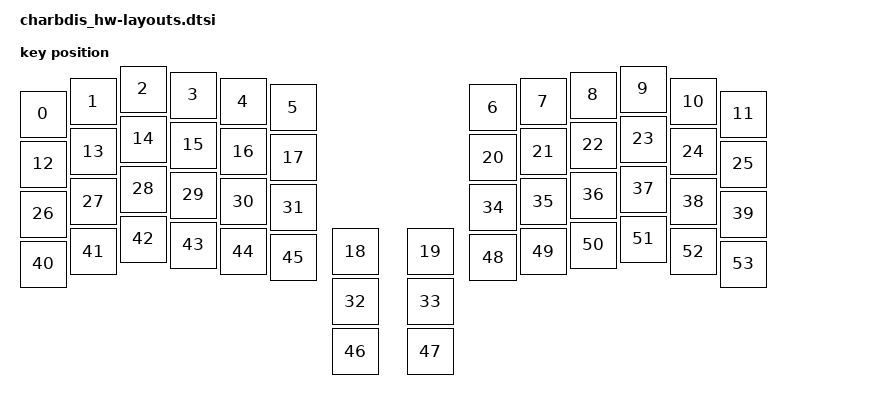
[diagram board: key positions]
// Physical layout for ZMK Studio visualization
// Charybdis Handwired - Unibody - 54 keys

#include <physical_layouts.dtsi>

/ {
    default_layout: default_layout {
        compatible = "zmk,physical-layout";
        display-name = "Default Layout";
        transform = <&default_transform>;
        kscan = <&kscan>;

        //                                                     w   h    x    y     rot    rx    ry
        // Row 1: left (cols 1-6), right (cols 9-14) — 12 keys
        keys
            = <&key_physical_attrs 100 100    0   50       0     0     0>
            , <&key_physical_attrs 100 100  100   25       0     0     0>
            , <&key_physical_attrs 100 100  200    0       0     0     0>
            , <&key_physical_attrs 100 100  300   12       0     0     0>
            , <&key_physical_attrs 100 100  400   25       0     0     0>
            , <&key_physical_attrs 100 100  500   37       0     0     0>
            , <&key_physical_attrs 100 100  900   37       0     0     0>
            , <&key_physical_attrs 100 100 1000   25       0     0     0>
            , <&key_physical_attrs 100 100 1100   12       0     0     0>
            , <&key_physical_attrs 100 100 1200    0       0     0     0>
            , <&key_physical_attrs 100 100 1300   25       0     0     0>
            , <&key_physical_attrs 100 100 1400   50       0     0     0>

        // Row 2: left (cols 1-6), thumbs (cols 7-8), right (cols 9-14) — 14 keys
            , <&key_physical_attrs 100 100    0  150       0     0     0>
            , <&key_physical_attrs 100 100  100  125       0     0     0>
            , <&key_physical_attrs 100 100  200  100       0     0     0>
            , <&key_physical_attrs 100 100  300  112       0     0     0>
            , <&key_physical_attrs 100 100  400  125       0     0     0>
            , <&key_physical_attrs 100 100  500  137       0     0     0>
            , <&key_physical_attrs 100 100  625  325       0     0     0>
            , <&key_physical_attrs 100 100  775  325       0     0     0>
            , <&key_physical_attrs 100 100  900  137       0     0     0>
            , <&key_physical_attrs 100 100 1000  125       0     0     0>
            , <&key_physical_attrs 100 100 1100  112       0     0     0>
            , <&key_physical_attrs 100 100 1200  100       0     0     0>
            , <&key_physical_attrs 100 100 1300  125       0     0     0>
            , <&key_physical_attrs 100 100 1400  150       0     0     0>

        // Row 3: left (cols 1-6), thumbs (cols 7-8), right (cols 9-14) — 14 keys
            , <&key_physical_attrs 100 100    0  250       0     0     0>
            , <&key_physical_attrs 100 100  100  225       0     0     0>
            , <&key_physical_attrs 100 100  200  200       0     0     0>
            , <&key_physical_attrs 100 100  300  212       0     0     0>
            , <&key_physical_attrs 100 100  400  225       0     0     0>
            , <&key_physical_attrs 100 100  500  237       0     0     0>
            , <&key_physical_attrs 100 100  625  425       0     0     0>
            , <&key_physical_attrs 100 100  775  425       0     0     0>
            , <&key_physical_attrs 100 100  900  237       0     0     0>
            , <&key_physical_attrs 100 100 1000  225       0     0     0>
            , <&key_physical_attrs 100 100 1100  212       0     0     0>
            , <&key_physical_attrs 100 100 1200  200       0     0     0>
            , <&key_physical_attrs 100 100 1300  225       0     0     0>
            , <&key_physical_attrs 100 100 1400  250       0     0     0>

        // Row 4: left (cols 1-6), thumbs (cols 7-8), right (cols 9-14) — 14 keys
            , <&key_physical_attrs 100 100    0  350       0     0     0>
            , <&key_physical_attrs 100 100  100  325       0     0     0>
            , <&key_physical_attrs 100 100  200  300       0     0     0>
            , <&key_physical_attrs 100 100  300  312       0     0     0>
            , <&key_physical_attrs 100 100  400  325       0     0     0>
            , <&key_physical_attrs 100 100  500  337       0     0     0>
            , <&key_physical_attrs 100 100  625  525       0     0     0>
            , <&key_physical_attrs 100 100  775  525       0     0     0>
            , <&key_physical_attrs 100 100  900  337       0     0     0>
            , <&key_physical_attrs 100 100 1000  325       0     0     0>
            , <&key_physical_attrs 100 100 1100  312       0     0     0>
            , <&key_physical_attrs 100 100 1200  300       0     0     0>
            , <&key_physical_attrs 100 100 1300  325       0     0     0>
            , <&key_physical_attrs 100 100 1400  350       0     0     0>
            ;
    };
};
